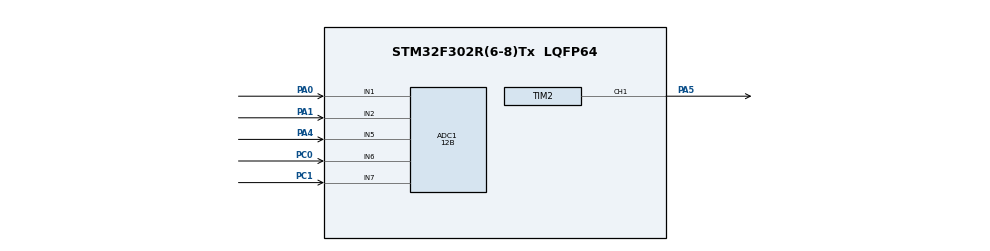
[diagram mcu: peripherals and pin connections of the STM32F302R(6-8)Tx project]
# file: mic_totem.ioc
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ADC1.Channel-0\#ChannelRegularConversion=ADC_CHANNEL_1
ADC1.Channel-1\#ChannelRegularConversion=ADC_CHANNEL_2
ADC1.Channel-2\#ChannelRegularConversion=ADC_CHANNEL_5
ADC1.Channel-3\#ChannelRegularConversion=ADC_CHANNEL_6
ADC1.Channel-4\#ChannelRegularConversion=ADC_CHANNEL_7
ADC1.ClockPrescaler=ADC_CLOCK_ASYNC_DIV1
ADC1.DMAContinuousRequests=ENABLE
ADC1.EOCSelection=ADC_EOC_SEQ_CONV
ADC1.ExternalTrigConv=ADC_EXTERNALTRIGCONV_T2_TRGO
ADC1.NbrOfConversion=5
ADC1.NbrOfConversionFlag=1
ADC1.Offset-0\#ChannelRegularConversion=0
ADC1.Offset-1\#ChannelRegularConversion=0
ADC1.Offset-2\#ChannelRegularConversion=0
ADC1.Offset-3\#ChannelRegularConversion=0
ADC1.Offset-4\#ChannelRegularConversion=0
ADC1.OffsetNumber-0\#ChannelRegularConversion=ADC_OFFSET_NONE
ADC1.OffsetNumber-1\#ChannelRegularConversion=ADC_OFFSET_NONE
ADC1.OffsetNumber-2\#ChannelRegularConversion=ADC_OFFSET_NONE
ADC1.OffsetNumber-3\#ChannelRegularConversion=ADC_OFFSET_NONE
ADC1.OffsetNumber-4\#ChannelRegularConversion=ADC_OFFSET_NONE
ADC1.Rank-0\#ChannelRegularConversion=1
ADC1.Rank-1\#ChannelRegularConversion=2
ADC1.Rank-2\#ChannelRegularConversion=3
ADC1.Rank-3\#ChannelRegularConversion=4
ADC1.Rank-4\#ChannelRegularConversion=5
ADC1.Resolution=ADC_RESOLUTION_12B
ADC1.SamplingTime-0\#ChannelRegularConversion=ADC_SAMPLETIME_1CYCLE_5
ADC1.SamplingTime-1\#ChannelRegularConversion=ADC_SAMPLETIME_1CYCLE_5
ADC1.SamplingTime-2\#ChannelRegularConversion=ADC_SAMPLETIME_1CYCLE_5
ADC1.SamplingTime-3\#ChannelRegularConversion=ADC_SAMPLETIME_1CYCLE_5
ADC1.SamplingTime-4\#ChannelRegularConversion=ADC_SAMPLETIME_1CYCLE_5
ADC1.SamplingTimeOPAMP-3\#ChannelRegularConversion=ADC_SAMPLETIME_61CYCLES_5
ADC1.SamplingTimeOPAMP-4\#ChannelRegularConversion=ADC_SAMPLETIME_61CYCLES_5
ADC1.SequencerNbRanks=3
ADC1.SubFamily=STM32F302x8
ADC1.master=1
Dma.ADC1.0.Direction=DMA_PERIPH_TO_MEMORY
Dma.ADC1.0.Instance=DMA1_Channel1
Dma.ADC1.0.MemDataAlignment=DMA_MDATAALIGN_HALFWORD
Dma.ADC1.0.MemInc=DMA_MINC_ENABLE
Dma.ADC1.0.Mode=DMA_CIRCULAR
Dma.ADC1.0.PeriphDataAlignment=DMA_PDATAALIGN_HALFWORD
Dma.ADC1.0.PeriphInc=DMA_PINC_DISABLE
Dma.ADC1.0.Priority=DMA_PRIORITY_LOW
Dma.Request0=ADC1
Dma.Request1=TIM2_UP
Dma.TIM2_UP.1.Direction=DMA_MEMORY_TO_PERIPH
Dma.TIM2_UP.1.Instance=DMA1_Channel2
Dma.TIM2_UP.1.MemDataAlignment=DMA_MDATAALIGN_WORD
Dma.TIM2_UP.1.MemInc=DMA_MINC_ENABLE
Dma.TIM2_UP.1.Mode=DMA_NORMAL
Dma.TIM2_UP.1.PeriphDataAlignment=DMA_PDATAALIGN_WORD
Dma.TIM2_UP.1.PeriphInc=DMA_PINC_DISABLE
Dma.TIM2_UP.1.Priority=DMA_PRIORITY_MEDIUM
Mcu.Family=STM32F3
Mcu.Name=STM32F302R(6-8)Tx
Mcu.Package=LQFP64
NVIC.ADC1_IRQn=true\:0\:0\:false\:false\:true\:true\:true\:true
NVIC.DMA1_Channel1_IRQn=true\:0\:0\:false\:false\:true\:false\:true\:true
NVIC.DMA1_Channel2_IRQn=true\:0\:0\:false\:false\:true\:false\:true\:true
NVIC.PriorityGroup=NVIC_PRIORITYGROUP_0
NVIC.TIM2_IRQn=true\:0\:0\:false\:false\:true\:true\:true\:true
PA0.Mode=IN1-Single-Ended
PA0.Signal=ADC1_IN1
PA1.Mode=IN2-Single-Ended
PA1.Signal=ADC1_IN2
PA13.GPIO_Label=TMS
PA13.Mode=Serial_Wire
PA13.Signal=SYS_JTMS-SWDIO
PA14.GPIO_Label=TCK
PA14.Mode=Serial_Wire
PA14.Signal=SYS_JTCK-SWCLK
PA4.Mode=IN5-Single-Ended
PA4.Signal=ADC1_IN5
PA5.Signal=S_TIM2_CH1_ETR
PB3.GPIO_Label=SWO
PB3.Mode=Trace_Asynchronous_SW
PB3.Signal=SYS_JTDO-TRACESWO
PC0.Signal=ADCx_IN6
PC1.Signal=ADCx_IN7
ProjectManager.HeapSize=0x200
ProjectManager.StackSize=0x400
ProjectManager.TargetToolchain=STM32CubeIDE
RCC.AHBFreq_Value=64000000
RCC.APB1CLKDivider=RCC_HCLK_DIV2
RCC.APB1Freq_Value=32000000
RCC.APB1TimFreq_Value=64000000
RCC.APB2Freq_Value=64000000
RCC.APB2TimFreq_Value=64000000
RCC.CortexFreq_Value=64000000
RCC.HCLKFreq_Value=64000000
RCC.HSE_VALUE=8000000
RCC.HSI_VALUE=8000000
RCC.PLLM=8
RCC.PLLMUL=RCC_PLL_MUL16
RCC.PLLN=336
RCC.PLLP=RCC_PLLP_DIV4
RCC.PLLQ=7
RCC.SYSCLKFreq_VALUE=64000000
RCC.SYSCLKSourceVirtual=RCC_SYSCLKSOURCE_PLLCLK
RCC.USBFreq_Value=64000000
SH.ADCx_IN6.0=ADC1_IN6,IN6-Single-Ended
SH.ADCx_IN7.0=ADC1_IN7,IN7-Single-Ended
SH.S_TIM2_CH1_ETR.0=TIM2_CH1,PWM Generation1 CH1
TIM2.Channel-PWM\ Generation1\ CH1=TIM_CHANNEL_1
TIM2.Period=10000
TIM2.TIM_MasterOutputTrigger=TIM_TRGO_UPDATE
VP_TIM2_VS_ClockSourceINT.Mode=Internal
board=NUCLEO-F302R8

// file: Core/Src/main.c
/* USER CODE BEGIN Header */
/**
  ******************************************************************************
  * @file           : main.c
  * @brief          : Main program body
  ******************************************************************************
  * @attention
  *
  * Copyright (c) 2024 STMicroelectronics.
  * All rights reserved.
  *
  * This software is licensed under terms that can be found in the LICENSE file
  * in the root directory of this software component.
  * If no LICENSE file comes with this software, it is provided AS-IS.
  *
  ******************************************************************************
  */
/* USER CODE END Header */
#include "main.h"

/* USER CODE BEGIN Includes */
#include <stdlib.h>
#include <stdio.h>
#include <math.h>
#include "cirbuf.h"
#include "sm.h"

/* USER CODE END Includes */

void SystemClock_Config(void);
static void MX_GPIO_Init(void);
static void MX_DMA_Init(void);
static void MX_TIM2_Init(void);
static void MX_ADC1_Init(void);

/* USER CODE BEGIN 0 */

const uint32_t adc1_isr_clear_mask =
	ADC_ISR_JQOVF |
	ADC_ISR_AWD3 |
	ADC_ISR_AWD2 |
	ADC_ISR_AWD1 |
	ADC_ISR_JEOS |
	ADC_ISR_JEOC |
	ADC_ISR_OVR |
	ADC_ISR_EOS |
	ADC_ISR_EOC;

// External variable used for tracking how long certain processes take to complete
uint32_t proc_time;

// OVR Event tracking variable
uint32_t ovr_cnt = 0;

// FSM State Prototypes
void config_mic_s(Event evt);
void mic_s(Event evt);
void config_led_s(Event evt);
void led_s(Event evt);

// Declare ADC read variables
uint16_t adc_reads[5];
#define ADC_RANK_MIC 0
#define ADC_RANK_INTENSITY_SENSITIVITY 1
#define ADC_RANK_INTENSITY_GAIN 2
#define ADC_RANK_TRANSIENT_SENSITIVITY 4
#define ADC_RANK_TRANSIENT_GAIN 3

// Common variables for all DSP circular buffers.
#define MIC_CIRBUF_LEN 255
uint16_t mic_cirbuf_idx = 0; // Index used for tracking current location in circular buffers
uint16_t mic_cirbuf_idx_minus_1 = MIC_CIRBUF_LEN-1;

// Mic signal
float f_s;
int32_t cirbuf_mic[MIC_CIRBUF_LEN];

// Incoming signal HPF
int32_t cirbuf_hpf[MIC_CIRBUF_LEN];
int32_t tau_over_T_hpf;
int32_t gain_hpf;

// Envelope Signal
int32_t cirbuf_env[MIC_CIRBUF_LEN];
int32_t gain_env;
int32_t cirbuf_env_scaled[MIC_CIRBUF_LEN];

// Transient Sensitivity configuration variables
int32_t transient_sensitivity_shifts;
int32_t transient_thresh;

// HPF for beat detect
int32_t cirbuf_hpf_beat[MIC_CIRBUF_LEN];
int32_t tau_over_T_hpf_beat;
int32_t gain_hpf_beat;
int32_t transient_present = 0; // This variable gets reset every tim the LEDs are updated

// Number of mic samples before switch states to set LEDs
uint32_t num_samples_before_LED = 1000;
uint32_t num_samples_taken = 0;

void config_mic_s(Event evt){
	switch(evt){
			case ENTER:
				// Disable led_s configuration ~~~~~~~~~~~~~~~~~~~~~~~~~~
//				proc_time = TIM2->CNT;
				// Disable counter temporarily to configure peripherals
				LL_TIM_DisableCounter(TIM2);

				// Disable DMA requests triggering on update events
				LL_TIM_DisableDMAReq_UPDATE(TIM2);

				// Disable DMA
				LL_DMA_DisableChannel(DMA1, LL_DMA_CHANNEL_1);
				LL_DMA_DisableChannel(DMA1, LL_DMA_CHANNEL_2);
				SET_BIT(DMA1->IFCR, DMA_IFCR_CGIF1 | DMA_IFCR_CGIF2);

				// Force reset counter using update event
				LL_TIM_GenerateEvent_UPDATE(TIM2);

				// Set CCR to 0 so outputting a low (reset) value
				LL_TIM_OC_SetCompareCH1(TIM2, 0);

				// Configure for mic_s ~~~~~~~~~~~~~~~~~~~~~~~~~~
				// Define Sample Frequency
				const uint32_t mic_arr = 950;
				LL_TIM_SetAutoReload(TIM2, mic_arr); // Set timer ARR such that DSP can complete in one cycle
				float T_s = (float)mic_arr / 64E6;
				f_s = 1.0 / T_s;

				// Incoming signal HPF
				const float f_n_hpf = 20;
				tau_over_T_hpf = CalcTauOverTFromFloat(f_n_hpf, f_s);
				gain_hpf = 1;

				// Envelope signal
				gain_env = 100;

				// HPF for beat detect
				const float f_n_hpf_beat = 500;
				tau_over_T_hpf_beat = CalcTauOverTFromFloat(f_n_hpf_beat, f_s);
				gain_hpf_beat = 255;

				// Calculate Transient Threshold based on ADC read and intensity (threshold is scaled intensity value)
				transient_sensitivity_shifts = ( adc_reads[ADC_RANK_TRANSIENT_SENSITIVITY] * 30) / 4095;
				transient_thresh = 1 << transient_sensitivity_shifts;

				// Reset sample tracker
				num_samples_taken = 0;

				// Clear any pending status registers
				CLEAR_REG(TIM2->SR);
				SET_BIT(DMA1->IFCR, DMA_IFCR_CGIF1 | DMA_IFCR_CGIF2);

				// Reset DMA counter
				LL_DMA_SetDataLength(DMA1, LL_DMA_CHANNEL_1, 5);
				while(LL_DMA_GetDataLength(DMA1, LL_DMA_CHANNEL_1) != 5){}

				// Enable DMA
				LL_DMA_EnableChannel(DMA1, LL_DMA_CHANNEL_1);

				// Enable ADC
				LL_ADC_Enable(ADC1);

				// Start ADC triggering on TRGO events
				LL_ADC_REG_StartConversion(ADC1);

				// Enable counter. Transition to next state occurs on the next update event
				LL_TIM_EnableCounter(TIM2);
				break;
			case TIM_UE:
				// Transition to next state
				transition(mic_s);
			default:
				break;
		}
}

void mic_s(Event evt){
	switch(evt){
		case ENTER:
			break;
		case ADC_OVR:
			ovr_cnt++; // Increment counter (for debugging)
			break;
		case MIC_DMA_COMPLETE:
			// Increment sample counter
			num_samples_taken++;

			// Increment circular buffer index to store next read from ADC
			mic_cirbuf_idx_minus_1 = mic_cirbuf_idx;
			mic_cirbuf_idx = (mic_cirbuf_idx + 1) % MIC_CIRBUF_LEN;

			// Save new mic read every sample
			cirbuf_mic[mic_cirbuf_idx] = adc_reads[ADC_RANK_MIC];

			// Apply HPF to incoming signal
			cirbuf_hpf[mic_cirbuf_idx] = ApplyFirstDifferenceHPF(
				cirbuf_hpf[mic_cirbuf_idx_minus_1],
				cirbuf_mic[mic_cirbuf_idx],
				cirbuf_mic[mic_cirbuf_idx_minus_1],
				tau_over_T_hpf,
				gain_hpf
			);

			// Envelope Signal to be used for intensity (downsampled and LPF version of envelope)
			cirbuf_env[mic_cirbuf_idx] = ApplyFirstDifferenceEnvelopeLinear(
				cirbuf_env[mic_cirbuf_idx_minus_1],
				abs(cirbuf_hpf[mic_cirbuf_idx]),
				gain_env
			);
			cirbuf_env_scaled[mic_cirbuf_idx] = cirbuf_env[mic_cirbuf_idx] / gain_env;

			// Beat Detect HPF
			cirbuf_hpf_beat[mic_cirbuf_idx] = ApplyFirstDifferenceHPF(
				cirbuf_hpf_beat[mic_cirbuf_idx_minus_1],
				cirbuf_mic[mic_cirbuf_idx],
				cirbuf_mic[mic_cirbuf_idx_minus_1],
				tau_over_T_hpf_beat,
				gain_hpf_beat
			);

			// Beat detect threshold
			if (abs(cirbuf_hpf_beat[mic_cirbuf_idx]) > transient_thresh)
			{
				transient_present++;
			}

			if(num_samples_taken >= num_samples_before_LED){
				transition(config_led_s);
			}

			// Capture time at end of processing for setting good sample frequency
			proc_time = TIM2->CNT;
			break;
		default:
			break;
	}
}

// LED output variables
#define NUM_LEDS 68
#define NUM_LED_CHANNELS 3
uint8_t led_vals[NUM_LEDS][NUM_LED_CHANNELS];

// Variables used when converting from bits to Timer CCR durations
#define NUM_CCRS (NUM_LEDS * NUM_LED_CHANNELS * 8)
uint32_t ccr_zero = 19;
uint32_t ccr_one = 45;
uint32_t ccr_sequence[NUM_CCRS];

uint32_t led_arr = 79;

uint32_t refresh_cntr = 0;

// Each color channel intensity component oscillates at different frequencies and
// is dependent on measured intensity. Periods are measured in number of LED refresh cycles.
const float led_chan_periods[NUM_LED_CHANNELS] = {60, 105, 135};
uint32_t led_chan_periods_lcm;

// Circular buffer variables for LED (updated once every time we switch to led_s
#define LED_CIRBUF_LEN 127
uint32_t led_cirbuf_idx = 0;

// Intensity signal (downsampled envelope with LPF)
int32_t cirbuf_env_downsample[LED_CIRBUF_LEN];
int32_t intensity_lpf_accum = 0; // Accumulator used when applying LPF to store sum between samples
int32_t cirbuf_intensity[LED_CIRBUF_LEN];
uint32_t intensity;
float intensity_gain;
float intensity_scaled;
uint32_t intensity_shifts;
float led_intensity_component[NUM_LED_CHANNELS];

// Declare LED variables external from state machine for easier tracking/debugging
float transient_gain;
uint8_t transient_locations[NUM_LEDS];
float led_transient_component[NUM_LEDS];
float i_and_t;

void config_led_s(Event evt){
    switch(evt){
		case ENTER:
			// Disable mic_s configuration ~~~~~~~~~~~~~~~~~~~~~~~~~~
			// Disable counter temporarily to configure peripherals
			LL_TIM_DisableCounter(TIM2);

			// Stop ADC conversions (and therefore no DMA requests will be generated)
			LL_ADC_REG_StopConversion(ADC1);
			while (READ_BIT(ADC1->CR, ADC_CR_ADSTART) > 0){}

			// Disable ADC
//			LL_ADC_Disable(ADC1);
//			while (READ_BIT(ADC1->CR, ADC_CR_ADEN) > 0){}

			// Disable DMA and clear flags
			LL_DMA_DisableChannel(DMA1, LL_DMA_CHANNEL_1);
			LL_DMA_DisableChannel(DMA1, LL_DMA_CHANNEL_2);
			SET_BIT(DMA1->IFCR, DMA_IFCR_CGIF1 | DMA_IFCR_CGIF2);

			// Force reset counter using update event
			LL_TIM_GenerateEvent_UPDATE(TIM2);

			// Configure for led_s ~~~~~~~~~~~~~~~~~~~~~~~~~~
			// Update refresh counter, rollover on LCM of periods
			refresh_cntr = (refresh_cntr + 1) % led_chan_periods_lcm;

			// Update LED circular buffer index
			led_cirbuf_idx = (led_cirbuf_idx + 1) % LED_CIRBUF_LEN;

			const float led_component_max = 127.0;

			// Calculate intensity component of LEDs using LPF on down-sampled envelope signal
			cirbuf_env_downsample[led_cirbuf_idx] = cirbuf_env_scaled[mic_cirbuf_idx]; // Down-sample: assign last env value to intensity signal
			const uint32_t filt_len = LED_CIRBUF_LEN-1; // LED_CIRBUF_LEN-1 is longest filter length possible without accruing errors
			cirbuf_intensity[led_cirbuf_idx] = ApplyFIRLPF(
				cirbuf_env_downsample,
				led_cirbuf_idx,
				filt_len,
				LED_CIRBUF_LEN,
				&intensity_lpf_accum
			);
			intensity_shifts = (adc_reads[ADC_RANK_INTENSITY_GAIN] * 32) / 4095;
			intensity = cirbuf_intensity[led_cirbuf_idx] >> intensity_shifts;
			for (uint8_t chan_idx = 0; chan_idx < NUM_LED_CHANNELS; chan_idx++){
				led_intensity_component[chan_idx] = fmin(led_component_max, (float)intensity * ( sin( (float)refresh_cntr / led_chan_periods[chan_idx]) + 1));
			}

			// Update transient component of LEDs based on previous value and decay rate
			for (uint8_t idx = 0; idx < NUM_LEDS; idx++){
				const float decay_factor = 0.9;
				led_transient_component[idx] = decay_factor * led_transient_component[idx];
			}
//
//			// Define constant that compares how many refresh cycles need to occur before
//			// transient pulse "moves" to the next LED.
//			const uint8_t x_dot_over_refresh_rate = 1;
//
//			// If rollover occurred based on x_dot_over_refresh_rate
//			if (refresh_cntr % x_dot_over_refresh_rate == 0){
				// Set transient gain somewhere between 0 and 255
				transient_gain = (float)(4095 - adc_reads[ADC_RANK_TRANSIENT_GAIN]) * (127.0 / 4095.0);

				// Shift transient impulses by 1
				for (uint8_t led_idx = NUM_LEDS - 1; led_idx > 0; led_idx--){
					transient_locations[led_idx] = transient_locations[led_idx-1];
				}

				// If a transient has occurred since the last time we checked
				if (transient_present > 0){
					// Start transient on first LED
					transient_locations[0] = 1;
				} else{
					transient_locations[0] = 0;
				}

				// Reset Transient counter
				transient_present = 0;

				// In any location where a transient has just moved, set led_transient_component
				for (uint8_t led_idx = 0; led_idx < NUM_LEDS; led_idx++){
					if (transient_locations[led_idx] > 0){
//						led_transient_component[led_idx] = 1.0f;
						led_transient_component[led_idx] = transient_gain;
					}
				}
//			}

			// Cycle through each LED and each color channel
			uint32_t ccr_idx = 0;
			for(int16_t led_idx = 0; led_idx < NUM_LEDS; led_idx++){
				for(uint8_t chan_idx = 0; chan_idx < NUM_LED_CHANNELS; chan_idx++){
					// Calculate channel color for this LED by scaling and combining intensity and transient component
					i_and_t = led_intensity_component[chan_idx] + led_transient_component[led_idx];
					led_vals[led_idx][chan_idx] = (uint8_t)(fminf(i_and_t, 255.0));

					// Generate array for Timer CCR values corresponding to each bit that will be written to LEDs
					for(int8_t bit_idx = 7; bit_idx >=0; bit_idx--){
						if((led_vals[led_idx][chan_idx] & (0b1 << bit_idx)) > 0){
							ccr_sequence[ccr_idx] = ccr_one;
						}
						else{
							ccr_sequence[ccr_idx] = ccr_zero;
						}
						ccr_idx++;
					}
				}
			}

			// Set timer ARR for duration to write one bit to LEDs
			LL_TIM_SetAutoReload(TIM2, led_arr);

			// Clear any pending status registers
			CLEAR_REG(TIM2->SR);
			SET_BIT(DMA1->IFCR, DMA_IFCR_CGIF1 | DMA_IFCR_CGIF2);

			// Reset DMA counter
			LL_DMA_SetDataLength(DMA1, LL_DMA_CHANNEL_2, NUM_CCRS);

			// Enable DMA
			LL_DMA_EnableChannel(DMA1, LL_DMA_CHANNEL_2);

			// Enable DMA requests triggering on timer update events
			LL_TIM_EnableDMAReq_UPDATE(TIM2);

			// Enable counter. State will transition on the next update event
			LL_TIM_EnableCounter(TIM2);
			break;
		case TIM_UE:
			// Transition to next state
			transition(led_s);
		default:
			break;
    }
}

void led_s(Event evt){
    switch(evt){
		case ENTER:
			// By this point, sampling the ADCs and running DSP is assumed to have kept
			// output low long enough for reset pulse. No need to wait for it explicitly.
			break;
		case LED_DMA_COMPLETE:
			// By this point, all LEDs have been written to.
			// Transition state
			transition(config_mic_s);
			break;
		default:
			break;
    }
}

/* USER CODE END 0 */

int main(void)
{

  /* MCU Configuration--------------------------------------------------------*/

  /* Reset of all peripherals, Initializes the Flash interface and the Systick. */
  LL_APB2_GRP1_EnableClock(LL_APB2_GRP1_PERIPH_SYSCFG);
  LL_APB1_GRP1_EnableClock(LL_APB1_GRP1_PERIPH_PWR);

  /* System interrupt init*/
  NVIC_SetPriorityGrouping(NVIC_PRIORITYGROUP_0);

  /* Configure the system clock */
  SystemClock_Config();

  /* Initialize all configured peripherals */
  MX_GPIO_Init();
  MX_DMA_Init();
  MX_TIM2_Init();
  MX_ADC1_Init();
  /* USER CODE BEGIN 2 */
	// Calculate LCM for LED periods
	led_chan_periods_lcm = (uint32_t)led_chan_periods[0];
	for (uint8_t chan_idx = 1; chan_idx < NUM_LED_CHANNELS; chan_idx++){
		led_chan_periods_lcm *= (uint32_t)led_chan_periods[chan_idx];
	}

  	// Peripheral Configuration ~~~~~~~~~~~~~~~~~~~~~~~~~~~~~~~~~~~~~~~~~~~~~~~~~
	// Configure DMA for transfer from ADC to memory
  LL_DMA_DisableChannel(DMA1, LL_DMA_CHANNEL_1);
  LL_DMA_SetPeriphAddress(DMA1, LL_DMA_CHANNEL_1, (uint32_t)&ADC1->DR);
  LL_DMA_SetMemoryAddress(DMA1, LL_DMA_CHANNEL_1, (uint32_t)adc_reads);
	LL_DMA_EnableIT_TC(DMA1, LL_DMA_CHANNEL_1); // Enable interrupt to be called when transaction complete

	// Configure DMA for transfer from memory to Timer CCR
	LL_DMA_SetPeriphAddress(DMA1, LL_DMA_CHANNEL_2, (uint32_t)&TIM2->CCR1);
	LL_DMA_SetMemoryAddress(DMA1, LL_DMA_CHANNEL_2, (uint32_t)ccr_sequence);
	LL_DMA_EnableIT_TC(DMA1, LL_DMA_CHANNEL_2); // Enable interrupt to be called when transaction complete

	// Calibrate ADC for better accuracy
    LL_ADC_StartCalibration(ADC1, LL_ADC_SINGLE_ENDED);
    while(LL_ADC_IsCalibrationOnGoing(ADC1)){
  	  LL_mDelay(100);
    }

    // Enable ADC (but don't start)
    LL_ADC_Enable(ADC1);
	LL_ADC_EnableIT_OVR(ADC1); // Enable Overrun interrupt

	// Configure TIM
	CLEAR_REG(TIM2->SR);
	LL_TIM_EnableIT_UPDATE(TIM2); // Enable update event interrupt
	LL_TIM_CC_EnableChannel(TIM2, LL_TIM_CHANNEL_CH1); // Enable Capture compare channel
	LL_TIM_CC_SetDMAReqTrigger(TIM2, LL_TIM_CCDMAREQUEST_UPDATE); // Set DMA Request source

	// Enter starting state ~~~~~~~~~~~~~~~~~~~~~~~~~~~~~~~~~~~~~~~~~~~~~~~~~~~~~~~
	transition(config_mic_s);

  /* USER CODE END 2 */

  /* Infinite loop */
  while (1)
  {

  }
}

void SystemClock_Config(void)
{
  LL_FLASH_SetLatency(LL_FLASH_LATENCY_2);
  while(LL_FLASH_GetLatency()!= LL_FLASH_LATENCY_2)
  {
  }
  LL_RCC_HSI_Enable();

   /* Wait till HSI is ready */
  while(LL_RCC_HSI_IsReady() != 1)
  {

  }
  LL_RCC_HSI_SetCalibTrimming(16);
  LL_RCC_PLL_ConfigDomain_SYS(LL_RCC_PLLSOURCE_HSI_DIV_2, LL_RCC_PLL_MUL_16);
  LL_RCC_PLL_Enable();

   /* Wait till PLL is ready */
  while(LL_RCC_PLL_IsReady() != 1)
  {

  }
  LL_RCC_SetAHBPrescaler(LL_RCC_SYSCLK_DIV_1);
  LL_RCC_SetAPB1Prescaler(LL_RCC_APB1_DIV_2);
  LL_RCC_SetAPB2Prescaler(LL_RCC_APB2_DIV_1);
  LL_RCC_SetSysClkSource(LL_RCC_SYS_CLKSOURCE_PLL);

   /* Wait till System clock is ready */
  while(LL_RCC_GetSysClkSource() != LL_RCC_SYS_CLKSOURCE_STATUS_PLL)
  {

  }
  LL_Init1msTick(64000000);
  LL_SetSystemCoreClock(64000000);
  LL_RCC_SetADCClockSource(LL_RCC_ADC1_CLKSRC_PLL_DIV_1);
}

static void MX_ADC1_Init(void)
{

  /* USER CODE BEGIN ADC1_Init 0 */
  /*
   * The ADC is configured to be triggered by the Timer2 TRGO event.
   * See STMF302xxx reference manual 15.3.18 for details on how the
   * EXTSEL bits are configured to achieve this.
   */

  /* USER CODE END ADC1_Init 0 */

  LL_ADC_InitTypeDef ADC_InitStruct = {0};
  LL_ADC_REG_InitTypeDef ADC_REG_InitStruct = {0};
  LL_ADC_CommonInitTypeDef ADC_CommonInitStruct = {0};

  LL_GPIO_InitTypeDef GPIO_InitStruct = {0};

  /* Peripheral clock enable */
  LL_AHB1_GRP1_EnableClock(LL_AHB1_GRP1_PERIPH_ADC1);

  LL_AHB1_GRP1_EnableClock(LL_AHB1_GRP1_PERIPH_GPIOC);
  LL_AHB1_GRP1_EnableClock(LL_AHB1_GRP1_PERIPH_GPIOA);
  /**ADC1 GPIO Configuration
  PC0   ------> ADC1_IN6
  PC1   ------> ADC1_IN7
  PA0   ------> ADC1_IN1
  PA1   ------> ADC1_IN2
  PA4   ------> ADC1_IN5
  */
  GPIO_InitStruct.Pin = LL_GPIO_PIN_0|LL_GPIO_PIN_1;
  GPIO_InitStruct.Mode = LL_GPIO_MODE_ANALOG;
  GPIO_InitStruct.Pull = LL_GPIO_PULL_NO;
  LL_GPIO_Init(GPIOC, &GPIO_InitStruct);

  GPIO_InitStruct.Pin = LL_GPIO_PIN_0|LL_GPIO_PIN_1|LL_GPIO_PIN_4;
  GPIO_InitStruct.Mode = LL_GPIO_MODE_ANALOG;
  GPIO_InitStruct.Pull = LL_GPIO_PULL_NO;
  LL_GPIO_Init(GPIOA, &GPIO_InitStruct);

  /* ADC1 DMA Init */

  /* ADC1 Init */
  LL_DMA_SetDataTransferDirection(DMA1, LL_DMA_CHANNEL_1, LL_DMA_DIRECTION_PERIPH_TO_MEMORY);

  LL_DMA_SetChannelPriorityLevel(DMA1, LL_DMA_CHANNEL_1, LL_DMA_PRIORITY_LOW);

  LL_DMA_SetMode(DMA1, LL_DMA_CHANNEL_1, LL_DMA_MODE_CIRCULAR);

  LL_DMA_SetPeriphIncMode(DMA1, LL_DMA_CHANNEL_1, LL_DMA_PERIPH_NOINCREMENT);

  LL_DMA_SetMemoryIncMode(DMA1, LL_DMA_CHANNEL_1, LL_DMA_MEMORY_INCREMENT);

  LL_DMA_SetPeriphSize(DMA1, LL_DMA_CHANNEL_1, LL_DMA_PDATAALIGN_HALFWORD);

  LL_DMA_SetMemorySize(DMA1, LL_DMA_CHANNEL_1, LL_DMA_MDATAALIGN_HALFWORD);

  /* ADC1 interrupt Init */
  NVIC_SetPriority(ADC1_IRQn, NVIC_EncodePriority(NVIC_GetPriorityGrouping(),0, 0));
  NVIC_EnableIRQ(ADC1_IRQn);

  /** Common config
  */
  ADC_InitStruct.Resolution = LL_ADC_RESOLUTION_12B;
  ADC_InitStruct.DataAlignment = LL_ADC_DATA_ALIGN_RIGHT;
  ADC_InitStruct.LowPowerMode = LL_ADC_LP_MODE_NONE;
  LL_ADC_Init(ADC1, &ADC_InitStruct);
  ADC_REG_InitStruct.TriggerSource = LL_ADC_REG_TRIG_EXT_TIM2_TRGO;
  ADC_REG_InitStruct.SequencerLength = LL_ADC_REG_SEQ_SCAN_ENABLE_5RANKS;
  ADC_REG_InitStruct.SequencerDiscont = LL_ADC_REG_SEQ_DISCONT_DISABLE;
  ADC_REG_InitStruct.ContinuousMode = LL_ADC_REG_CONV_SINGLE;
  ADC_REG_InitStruct.DMATransfer = LL_ADC_REG_DMA_TRANSFER_UNLIMITED;
  ADC_REG_InitStruct.Overrun = LL_ADC_REG_OVR_DATA_OVERWRITTEN;
  LL_ADC_REG_Init(ADC1, &ADC_REG_InitStruct);
  ADC_CommonInitStruct.CommonClock = LL_ADC_CLOCK_ASYNC_DIV1;
  LL_ADC_CommonInit(__LL_ADC_COMMON_INSTANCE(ADC1), &ADC_CommonInitStruct);
  LL_ADC_REG_SetTriggerEdge(ADC1, LL_ADC_REG_TRIG_EXT_RISING);

  /* Enable ADC internal voltage regulator */
  LL_ADC_EnableInternalRegulator(ADC1);
  /* Delay for ADC internal voltage regulator stabilization. */
  /* Compute number of CPU cycles to wait for, from delay in us. */
  /* Note: Variable divided by 2 to compensate partially */
  /* CPU processing cycles (depends on compilation optimization). */
  /* Note: If system core clock frequency is below 200kHz, wait time */
  /* is only a few CPU processing cycles. */
  uint32_t wait_loop_index;
  wait_loop_index = ((LL_ADC_DELAY_INTERNAL_REGUL_STAB_US * (SystemCoreClock / (100000 * 2))) / 10);
  while(wait_loop_index != 0)
  {
    wait_loop_index--;
  }

  /** Configure Regular Channel
  */
  LL_ADC_REG_SetSequencerRanks(ADC1, LL_ADC_REG_RANK_1, LL_ADC_CHANNEL_1);
  LL_ADC_SetChannelSamplingTime(ADC1, LL_ADC_CHANNEL_1, LL_ADC_SAMPLINGTIME_1CYCLE_5);
  LL_ADC_SetChannelSingleDiff(ADC1, LL_ADC_CHANNEL_1, LL_ADC_SINGLE_ENDED);

  /** Configure Regular Channel
  */
  LL_ADC_REG_SetSequencerRanks(ADC1, LL_ADC_REG_RANK_2, LL_ADC_CHANNEL_2);
  LL_ADC_SetChannelSamplingTime(ADC1, LL_ADC_CHANNEL_2, LL_ADC_SAMPLINGTIME_1CYCLE_5);
  LL_ADC_SetChannelSingleDiff(ADC1, LL_ADC_CHANNEL_2, LL_ADC_SINGLE_ENDED);

  /** Configure Regular Channel
  */
  LL_ADC_REG_SetSequencerRanks(ADC1, LL_ADC_REG_RANK_3, LL_ADC_CHANNEL_5);
  LL_ADC_SetChannelSamplingTime(ADC1, LL_ADC_CHANNEL_5, LL_ADC_SAMPLINGTIME_1CYCLE_5);
  LL_ADC_SetChannelSingleDiff(ADC1, LL_ADC_CHANNEL_5, LL_ADC_SINGLE_ENDED);

  /** Configure Regular Channel
  */
  LL_ADC_REG_SetSequencerRanks(ADC1, LL_ADC_REG_RANK_4, LL_ADC_CHANNEL_6);
  LL_ADC_SetChannelSamplingTime(ADC1, LL_ADC_CHANNEL_6, LL_ADC_SAMPLINGTIME_1CYCLE_5);
  LL_ADC_SetChannelSingleDiff(ADC1, LL_ADC_CHANNEL_6, LL_ADC_SINGLE_ENDED);

  /** Configure Regular Channel
  */
  LL_ADC_REG_SetSequencerRanks(ADC1, LL_ADC_REG_RANK_5, LL_ADC_CHANNEL_7);
  LL_ADC_SetChannelSamplingTime(ADC1, LL_ADC_CHANNEL_7, LL_ADC_SAMPLINGTIME_1CYCLE_5);
  LL_ADC_SetChannelSingleDiff(ADC1, LL_ADC_CHANNEL_7, LL_ADC_SINGLE_ENDED);

}

static void MX_TIM2_Init(void)
{

  LL_TIM_InitTypeDef TIM_InitStruct = {0};
  LL_TIM_OC_InitTypeDef TIM_OC_InitStruct = {0};

  LL_GPIO_InitTypeDef GPIO_InitStruct = {0};

  /* Peripheral clock enable */
  LL_APB1_GRP1_EnableClock(LL_APB1_GRP1_PERIPH_TIM2);

  /* TIM2 DMA Init */

  /* TIM2_UP Init */
  LL_DMA_SetDataTransferDirection(DMA1, LL_DMA_CHANNEL_2, LL_DMA_DIRECTION_MEMORY_TO_PERIPH);

  LL_DMA_SetChannelPriorityLevel(DMA1, LL_DMA_CHANNEL_2, LL_DMA_PRIORITY_MEDIUM);

  LL_DMA_SetMode(DMA1, LL_DMA_CHANNEL_2, LL_DMA_MODE_NORMAL);

  LL_DMA_SetPeriphIncMode(DMA1, LL_DMA_CHANNEL_2, LL_DMA_PERIPH_NOINCREMENT);

  LL_DMA_SetMemoryIncMode(DMA1, LL_DMA_CHANNEL_2, LL_DMA_MEMORY_INCREMENT);

  LL_DMA_SetPeriphSize(DMA1, LL_DMA_CHANNEL_2, LL_DMA_PDATAALIGN_WORD);

  LL_DMA_SetMemorySize(DMA1, LL_DMA_CHANNEL_2, LL_DMA_MDATAALIGN_WORD);

  /* TIM2 interrupt Init */
  NVIC_SetPriority(TIM2_IRQn, NVIC_EncodePriority(NVIC_GetPriorityGrouping(),0, 0));
  NVIC_EnableIRQ(TIM2_IRQn);

  /* USER CODE BEGIN TIM2_Init 1 */
  /*
   * Code below is used to configure the timer.  The timer counter is in upcounting mode.
   *
   * When the Auto-reload value (Period value in this code) is reached, an update event is generated.
   * The configuration below also leverages the Master-Slave configuration so that the update
   * event also serves as an externally facing TRGO event.  That TRGO event is then used to
   * initiate ADC conversions.
   *
   * This configuration section also configures the timer for PWM. The lowest section sets
   * the polarity of the output on TIM_CHANNEL_1, and PWM duty cycle is set by the CCR value
   * which is modulated in the main code.
   */

  /* USER CODE END TIM2_Init 1 */
  TIM_InitStruct.Prescaler = 0;
  TIM_InitStruct.CounterMode = LL_TIM_COUNTERMODE_UP;
  TIM_InitStruct.Autoreload = 10000;
  TIM_InitStruct.ClockDivision = LL_TIM_CLOCKDIVISION_DIV1;
  LL_TIM_Init(TIM2, &TIM_InitStruct);
  LL_TIM_DisableARRPreload(TIM2);
  LL_TIM_SetClockSource(TIM2, LL_TIM_CLOCKSOURCE_INTERNAL);
  LL_TIM_OC_EnablePreload(TIM2, LL_TIM_CHANNEL_CH1);
  TIM_OC_InitStruct.OCMode = LL_TIM_OCMODE_PWM1;
  TIM_OC_InitStruct.OCState = LL_TIM_OCSTATE_DISABLE;
  TIM_OC_InitStruct.OCNState = LL_TIM_OCSTATE_DISABLE;
  TIM_OC_InitStruct.CompareValue = 0;
  TIM_OC_InitStruct.OCPolarity = LL_TIM_OCPOLARITY_HIGH;
  LL_TIM_OC_Init(TIM2, LL_TIM_CHANNEL_CH1, &TIM_OC_InitStruct);
  LL_TIM_OC_DisableFast(TIM2, LL_TIM_CHANNEL_CH1);
  LL_TIM_SetTriggerOutput(TIM2, LL_TIM_TRGO_UPDATE);
  LL_TIM_DisableMasterSlaveMode(TIM2);
  LL_AHB1_GRP1_EnableClock(LL_AHB1_GRP1_PERIPH_GPIOA);
  /**TIM2 GPIO Configuration
  PA5   ------> TIM2_CH1
  */
  GPIO_InitStruct.Pin = LL_GPIO_PIN_5;
  GPIO_InitStruct.Mode = LL_GPIO_MODE_ALTERNATE;
  GPIO_InitStruct.Speed = LL_GPIO_SPEED_FREQ_LOW;
  GPIO_InitStruct.OutputType = LL_GPIO_OUTPUT_PUSHPULL;
  GPIO_InitStruct.Pull = LL_GPIO_PULL_NO;
  GPIO_InitStruct.Alternate = LL_GPIO_AF_1;
  LL_GPIO_Init(GPIOA, &GPIO_InitStruct);

}

static void MX_DMA_Init(void)
{

  /* Init with LL driver */
  /* DMA controller clock enable */
  LL_AHB1_GRP1_EnableClock(LL_AHB1_GRP1_PERIPH_DMA1);

  /* DMA interrupt init */
  /* DMA1_Channel1_IRQn interrupt configuration */
  NVIC_SetPriority(DMA1_Channel1_IRQn, NVIC_EncodePriority(NVIC_GetPriorityGrouping(),0, 0));
  NVIC_EnableIRQ(DMA1_Channel1_IRQn);
  /* DMA1_Channel2_IRQn interrupt configuration */
  NVIC_SetPriority(DMA1_Channel2_IRQn, NVIC_EncodePriority(NVIC_GetPriorityGrouping(),0, 0));
  NVIC_EnableIRQ(DMA1_Channel2_IRQn);

}

static void MX_GPIO_Init(void)
{

  /* GPIO Ports Clock Enable */
  LL_AHB1_GRP1_EnableClock(LL_AHB1_GRP1_PERIPH_GPIOC);
  LL_AHB1_GRP1_EnableClock(LL_AHB1_GRP1_PERIPH_GPIOA);
  LL_AHB1_GRP1_EnableClock(LL_AHB1_GRP1_PERIPH_GPIOB);

}

void Error_Handler(void)
{
  __disable_irq();
  while (1)
  {
  }
}
